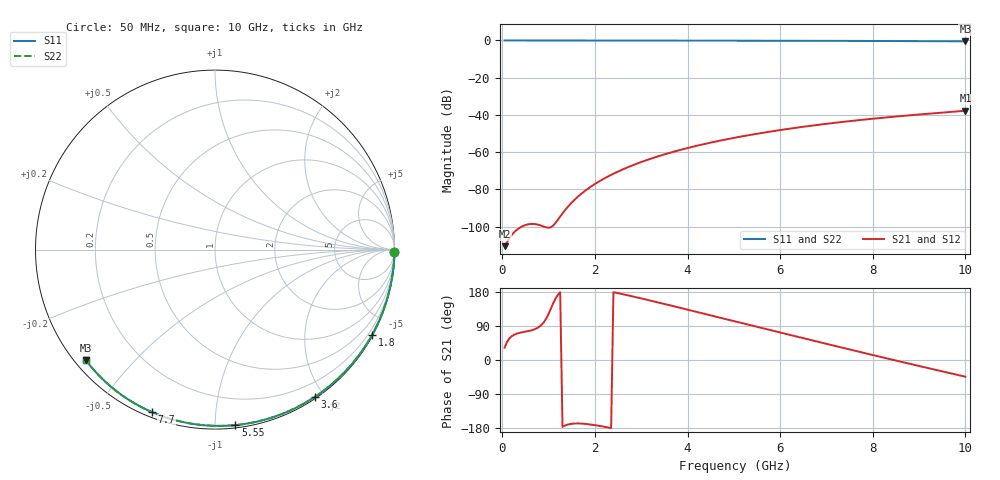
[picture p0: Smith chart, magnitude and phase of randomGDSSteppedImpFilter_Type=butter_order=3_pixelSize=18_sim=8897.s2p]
! freq	dB(S11)	phase(S11)	dB(S12)	phase(S12)
!  dB(S21)	phase(S21)	dB(S22)	phase(S22)
!S-par simulation data
#  GHz  S  DB  R 50
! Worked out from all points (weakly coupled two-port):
!   200 points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, 50 MHz to 10 GHz, reference 50 ohm
!   highest |S21| = -37.77 dB at 10 GHz (marker M1); lowest = -110.5 dB at 50 MHz (marker M2)
!   lowest |S11| = -0.5 dB at 10 GHz (marker M3), VSWR 36.79, Z = 1.54 - j18.4 ohm
!   |S11| at or under -10 dB: nowhere
!   |S22| runs from -0.5 to 0.0 dB; largest |S21 - S12| = 0
!   S11 on the Smith chart (normalised r, x): 50 MHz: open; 1.8 GHz: 0.03, -3.92; 3.6 GHz: 0.02, -1.89; 5.55 GHz: 0.02, -1.12; 7.7 GHz: 0.02, -0.68; 10 GHz: 0.03, -0.37
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0.05  -0.00 -0.8  -110.52 32.3  -110.52 32.3  -0.00 -0.8
0.45  -0.01 -7.3  -99.64 73.7  -99.64 73.7  -0.01 -7.3
0.9  -0.02 -14.5  -100.04 100.2  -100.04 100.2  -0.02 -14.4
1.75  -0.04 -27.8  -81.49 -168.1  -81.49 -168.1  -0.04 -27.8
1.8  -0.04 -28.6  -80.54 -168.7  -80.54 -168.7  -0.04 -28.6
1.85  -0.04 -29.4  -79.63 -169.4  -79.63 -169.4  -0.04 -29.4
2.05  -0.04 -32.5  -76.34 -172.9  -76.34 -172.9  -0.04 -32.5
2.25  -0.05 -35.6  -73.50 -177.3  -73.50 -177.3  -0.05 -35.6
2.55  -0.05 -40.2  -69.85 175.1  -69.85 175.1  -0.05 -40.2
2.95  -0.06 -46.2  -65.78 164.0  -65.78 164.0  -0.06 -46.2
3.4  -0.07 -52.9  -61.97 150.9  -61.97 150.9  -0.07 -52.9
3.6  -0.08 -55.9  -60.48 144.9  -60.48 144.9  -0.08 -55.9
3.9  -0.08 -60.3  -58.43 135.9  -58.43 135.9  -0.08 -60.3
4.3  -0.09 -66.0  -55.99 123.8  -55.99 123.8  -0.09 -66.0
5.05  -0.12 -76.5  -52.11 101.2  -52.11 101.2  -0.12 -76.5
5.55  -0.14 -83.4  -49.91 86.1  -49.91 86.1  -0.14 -83.4
6.1  -0.16 -90.7  -47.77 69.5  -47.77 69.5  -0.16 -90.7
6.7  -0.19 -98.6  -45.71 51.6  -45.71 51.6  -0.19 -98.6
7.7  -0.26 -111.3  -42.81 21.9  -42.81 21.9  -0.26 -111.3
8.35  -0.31 -119.4  -41.21 2.9  -41.21 2.9  -0.31 -119.3
9.2  -0.39 -129.8  -39.36 -21.5  -39.36 -21.5  -0.39 -129.8
10  -0.47 -139.5  -37.77 -44.1  -37.77 -44.1  -0.47 -139.5
